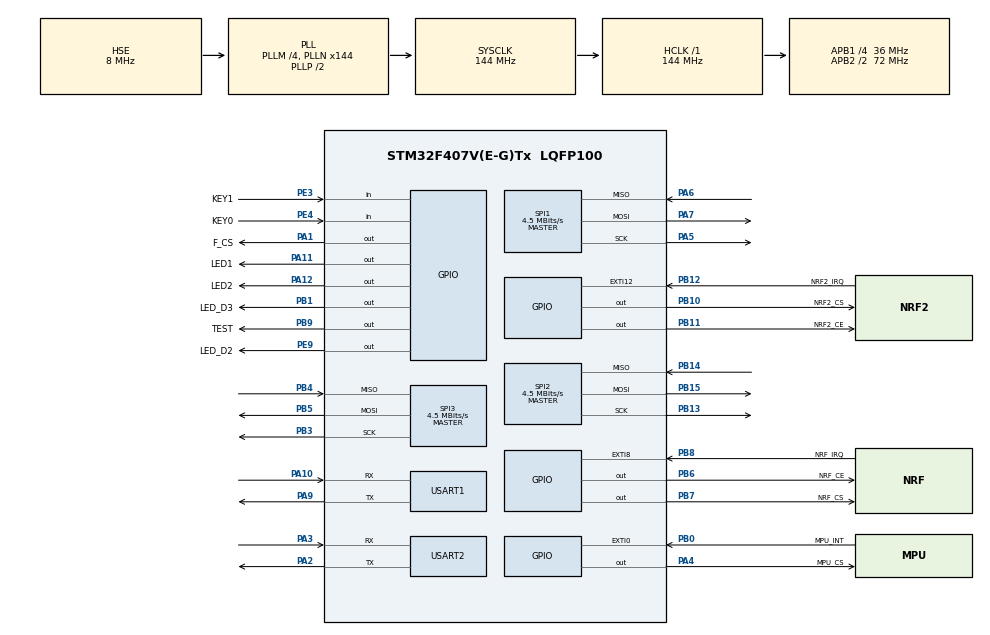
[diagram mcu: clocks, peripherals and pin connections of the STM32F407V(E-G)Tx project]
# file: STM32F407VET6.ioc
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Dma.Request0=USART1_TX
Dma.Request1=USART1_RX
Dma.USART1_RX.1.Direction=DMA_PERIPH_TO_MEMORY
Dma.USART1_RX.1.FIFOMode=DMA_FIFOMODE_DISABLE
Dma.USART1_RX.1.Instance=DMA2_Stream2
Dma.USART1_RX.1.MemDataAlignment=DMA_MDATAALIGN_BYTE
Dma.USART1_RX.1.MemInc=DMA_MINC_ENABLE
Dma.USART1_RX.1.Mode=DMA_NORMAL
Dma.USART1_RX.1.PeriphDataAlignment=DMA_PDATAALIGN_BYTE
Dma.USART1_RX.1.PeriphInc=DMA_PINC_DISABLE
Dma.USART1_RX.1.Priority=DMA_PRIORITY_LOW
Dma.USART1_TX.0.Direction=DMA_MEMORY_TO_PERIPH
Dma.USART1_TX.0.FIFOMode=DMA_FIFOMODE_DISABLE
Dma.USART1_TX.0.Instance=DMA2_Stream7
Dma.USART1_TX.0.MemDataAlignment=DMA_MDATAALIGN_BYTE
Dma.USART1_TX.0.MemInc=DMA_MINC_ENABLE
Dma.USART1_TX.0.Mode=DMA_NORMAL
Dma.USART1_TX.0.PeriphDataAlignment=DMA_PDATAALIGN_BYTE
Dma.USART1_TX.0.PeriphInc=DMA_PINC_DISABLE
Dma.USART1_TX.0.Priority=DMA_PRIORITY_LOW
Mcu.Family=STM32F4
Mcu.Name=STM32F407V(E-G)Tx
Mcu.Package=LQFP100
NVIC.DMA2_Stream2_IRQn=true\:6\:0\:true\:true
NVIC.DMA2_Stream7_IRQn=true\:7\:0\:true\:true
NVIC.EXTI0_IRQn=true\:7\:0\:true\:true
NVIC.EXTI15_10_IRQn=true\:2\:1\:true\:true
NVIC.EXTI9_5_IRQn=true\:2\:0\:true\:true
NVIC.PriorityGroup=NVIC_PRIORITYGROUP_3
NVIC.TIM1_UP_TIM10_IRQn=true\:1\:0\:true\:true
NVIC.TIM8_UP_TIM13_IRQn=true\:3\:0\:true\:true
NVIC.USART1_IRQn=true\:5\:0\:true\:true
NVIC.USART2_IRQn=true\:4\:0\:true\:true
PA1.GPIO_Label=F_CS
PA1.Signal=GPIO_Output
PA10.Mode=Asynchronous
PA10.Signal=USART1_RX
PA11.GPIO_Label=LED1
PA11.Signal=GPIO_Output
PA12.GPIO_Label=LED2
PA12.Signal=GPIO_Output
PA13.Mode=Serial-Wire
PA13.Signal=SYS_JTMS-SWDIO
PA14.Mode=Serial-Wire
PA14.Signal=SYS_JTCK-SWCLK
PA2.Mode=Asynchronous
PA2.Signal=USART2_TX
PA3.Mode=Asynchronous
PA3.Signal=USART2_RX
PA4.GPIO_Label=MPU_CS
PA4.Signal=GPIO_Output
PA5.Mode=Full_Duplex_Master
PA5.Signal=SPI1_SCK
PA6.Mode=Full_Duplex_Master
PA6.Signal=SPI1_MISO
PA7.Mode=Full_Duplex_Master
PA7.Signal=SPI1_MOSI
PA9.Mode=Asynchronous
PA9.Signal=USART1_TX
PB0.GPIO_Label=MPU_INT
PB0.GPIO_PuPd=GPIO_PULLUP
PB0.Signal=GPXTI0
PB1.GPIO_Label=LED_D3
PB1.Signal=GPIO_Output
PB10.GPIO_Label=NRF2_CS
PB10.Signal=GPIO_Output
PB11.GPIO_Label=NRF2_CE
PB11.Signal=GPIO_Output
PB12.GPIO_Label=NRF2_IRQ
PB12.GPIO_ModeDefaultEXTI=GPIO_MODE_IT_FALLING
PB12.GPIO_PuPd=GPIO_PULLUP
PB12.Signal=GPXTI12
PB13.Mode=Full_Duplex_Master
PB13.Signal=SPI2_SCK
PB14.Mode=Full_Duplex_Master
PB14.Signal=SPI2_MISO
PB15.Mode=Full_Duplex_Master
PB15.Signal=SPI2_MOSI
PB3.Mode=Full_Duplex_Master
PB3.Signal=SPI3_SCK
PB4.Mode=Full_Duplex_Master
PB4.Signal=SPI3_MISO
PB5.Mode=Full_Duplex_Master
PB5.Signal=SPI3_MOSI
PB6.GPIO_Label=NRF_CE
PB6.GPIO_Speed=GPIO_SPEED_MEDIUM
PB6.Signal=GPIO_Output
PB7.GPIO_Label=NRF_CS
PB7.GPIO_Speed=GPIO_SPEED_MEDIUM
PB7.Signal=GPIO_Output
PB8.GPIO_Label=NRF_IRQ
PB8.GPIO_ModeDefaultEXTI=GPIO_MODE_IT_FALLING
PB8.GPIO_PuPd=GPIO_PULLUP
PB8.Signal=GPXTI8
PB9.GPIO_Label=TEST
PB9.GPIO_Speed=GPIO_SPEED_FAST
PB9.Signal=GPIO_Output
PE3.GPIO_Label=KEY1
PE3.GPIO_PuPd=GPIO_PULLUP
PE3.Signal=GPIO_Input
PE4.GPIO_Label=KEY0
PE4.GPIO_PuPd=GPIO_PULLUP
PE4.Signal=GPIO_Input
PE9.GPIO_Label=LED_D2
PE9.Signal=GPIO_Output
PH0-OSC_IN.Mode=HSE-External-Oscillator
PH0-OSC_IN.Signal=RCC_OSC_IN
PH1-OSC_OUT.Mode=HSE-External-Oscillator
PH1-OSC_OUT.Signal=RCC_OSC_OUT
ProjectManager.HeapSize=0x200
ProjectManager.StackSize=0x400
ProjectManager.TargetToolchain=MDK-ARM V5
RCC.48MHZClocksFreq_Value=72000000
RCC.AHBFreq_Value=144000000
RCC.APB1CLKDivider=RCC_HCLK_DIV4
RCC.APB1Freq_Value=36000000
RCC.APB1TimFreq_Value=72000000
RCC.APB2CLKDivider=RCC_HCLK_DIV2
RCC.APB2Freq_Value=72000000
RCC.APB2TimFreq_Value=144000000
RCC.CortexFreq_Value=144000000
RCC.HCLKFreq_Value=144000000
RCC.HSE_VALUE=8000000
RCC.HSI_VALUE=16000000
RCC.LSE_VALUE=32768
RCC.PLLM=4
RCC.PLLN=144
RCC.PLLSourceVirtual=RCC_PLLSOURCE_HSE
RCC.SYSCLKFreq_VALUE=144000000
RCC.SYSCLKSource=RCC_SYSCLKSOURCE_PLLCLK
RCC.VCOOutputFreq_Value=288000000
SPI1.BaudRatePrescaler=SPI_BAUDRATEPRESCALER_16
SPI1.CalculateBaudRate=4.5 MBits/s
SPI1.Direction=SPI_DIRECTION_2LINES
SPI1.Mode=SPI_MODE_MASTER
SPI1.VirtualType=VM_MASTER
SPI2.BaudRatePrescaler=SPI_BAUDRATEPRESCALER_8
SPI2.CalculateBaudRate=4.5 MBits/s
SPI2.Direction=SPI_DIRECTION_2LINES
SPI2.Mode=SPI_MODE_MASTER
SPI2.VirtualType=VM_MASTER
SPI3.BaudRatePrescaler=SPI_BAUDRATEPRESCALER_8
SPI3.CalculateBaudRate=4.5 MBits/s
SPI3.Direction=SPI_DIRECTION_2LINES
SPI3.Mode=SPI_MODE_MASTER
SPI3.VirtualType=VM_MASTER
TIM1.ClockDivision=TIM_CLOCKDIVISION_DIV1
TIM1.Period=200
TIM1.Prescaler=28799
TIM8.Period=700
TIM8.Prescaler=143
USART1.VirtualMode=VM_ASYNC
USART2.VirtualMode=VM_ASYNC
VP_TIM1_VS_ClockSourceINT.Mode=Internal
VP_TIM8_VS_ClockSourceINT.Mode=Internal
board=STM32F407VET6

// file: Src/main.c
/**
  ******************************************************************************
  * File Name          : main.c
  * Description        : Main program body
  ******************************************************************************
  *
  * COPYRIGHT(c) 2017 STMicroelectronics
  *
  * Redistribution and use in source and binary forms, with or without modification,
  * are permitted provided that the following conditions are met:
  *   1. Redistributions of source code must retain the above copyright notice,
  *      this list of conditions and the following disclaimer.
  *   2. Redistributions in binary form must reproduce the above copyright notice,
  *      this list of conditions and the following disclaimer in the documentation
  *      and/or other materials provided with the distribution.
  *   3. Neither the name of STMicroelectronics nor the names of its contributors
  *      may be used to endorse or promote products derived from this software
  *      without specific prior written permission.
  *
  * THIS SOFTWARE IS PROVIDED BY THE COPYRIGHT HOLDERS AND CONTRIBUTORS "AS IS"
  * AND ANY EXPRESS OR IMPLIED WARRANTIES, INCLUDING, BUT NOT LIMITED TO, THE
  * IMPLIED WARRANTIES OF MERCHANTABILITY AND FITNESS FOR A PARTICULAR PURPOSE ARE
  * DISCLAIMED. IN NO EVENT SHALL THE COPYRIGHT HOLDER OR CONTRIBUTORS BE LIABLE
  * FOR ANY DIRECT, INDIRECT, INCIDENTAL, SPECIAL, EXEMPLARY, OR CONSEQUENTIAL
  * DAMAGES (INCLUDING, BUT NOT LIMITED TO, PROCUREMENT OF SUBSTITUTE GOODS OR
  * SERVICES; LOSS OF USE, DATA, OR PROFITS; OR BUSINESS INTERRUPTION) HOWEVER
  * CAUSED AND ON ANY THEORY OF LIABILITY, WHETHER IN CONTRACT, STRICT LIABILITY,
  * OR TORT (INCLUDING NEGLIGENCE OR OTHERWISE) ARISING IN ANY WAY OUT OF THE USE
  * OF THIS SOFTWARE, EVEN IF ADVISED OF THE POSSIBILITY OF SUCH DAMAGE.
  *
  ******************************************************************************
  */
#include "stm32f4xx_hal.h"

/* USER CODE BEGIN Includes */
#include "MAIN_MY.h"
#include "string.h"
#include "NRF24L01.h"
#include "delay.h"
/* USER CODE END Includes */

SPI_HandleTypeDef hspi1;
SPI_HandleTypeDef hspi2;
SPI_HandleTypeDef hspi3;

TIM_HandleTypeDef htim1;
TIM_HandleTypeDef htim8;

UART_HandleTypeDef huart1;
UART_HandleTypeDef huart2;
DMA_HandleTypeDef hdma_usart1_tx;
DMA_HandleTypeDef hdma_usart1_rx;

/* USER CODE BEGIN PV */
/* Private variables ---------------------------------------------------------*/
GLOVAR_HandleTypeDef glovar;
uint8_t start_flag=0;

//#define LED_D2 PEout(9)// PA8

/* USER CODE END PV */

void SystemClock_Config(void);
static void MX_GPIO_Init(void);
static void MX_DMA_Init(void);
static void SystemClock_Config(void);
static void MX_SPI1_Init(void);
static void MX_SPI2_Init(void);
static void MX_SPI3_Init(void);
static void MX_TIM1_Init(void);
static void MX_TIM8_Init(void);
static void MX_USART1_UART_Init(void);
static void MX_USART2_UART_Init(void);

/* USER CODE BEGIN PFP */
/* Private function prototypes -----------------------------------------------*/

/* USER CODE END PFP */

int main(void)
{

  /* USER CODE BEGIN 1 */
//	uint8_t uart_send_buf [15]="123456789";
  /* USER CODE END 1 */

  /* MCU Configuration----------------------------------------------------------*/

  /* Reset of all peripherals, Initializes the Flash interface and the Systick. */
  HAL_Init();

  /* Configure the system clock */
  SystemClock_Config();

  /* Initialize all configured peripherals */
  MX_GPIO_Init();
  MX_DMA_Init();
  SystemClock_Config();
  MX_SPI1_Init();
  MX_SPI2_Init();
  MX_SPI3_Init();
  MX_TIM1_Init();
  MX_TIM8_Init();
  MX_USART1_UART_Init();
  MX_USART2_UART_Init();

  /* USER CODE BEGIN 2 */
	start_flag=1;

	SPI2->CR1|=1<<6;//使能SPI3
	EXTI->IMR&=~(1<<8);
	EXTI->IMR&=~(1<<12);
	memset(&glovar,0,sizeof(glovar));
	LIZJ_HAL_INIT(&glovar);
	delay(500);
	Run_Action_Group_printf(&glovar,1,100,0);
	delay(500);
	NRF_printf("机器人版本号:V1.0\r\n");
	NRF_printf("制作人:lizj\r\n");

	LEN_G_OFF;
	HAL_TIM_Base_Start_IT(&htim1);

//  printf("asdf");
//	LEN_R_OFF;
//	LEN_G_ON;
	//HAL_TIM_Base_Start(&htim8);
//	HAL_TIM_Base_Start_IT(&htim8);
//	HAL_UART_Transmit(&huart1,uart_send_buf,5,1000);
//	HAL_UART_Transmit_DMA(&huart1,uart_send_buf,5);
//	HAL_UART_Receive_IT(&huart1,uart_send_buf,5);
//	HAL_UART_Receive_DMA(&huart1,uart_send_buf,5);
  /* USER CODE END 2 */

  /* Infinite loop */
  /* USER CODE BEGIN WHILE */
  while (1)
  {
		if(glovar.NRF.FLAG_RX)
			NRF_data_handle(&glovar);//NRF时间同步和数据处理
		if(glovar.TIMER.UART_SEND_TIMER){glovar.TIMER.UART_SEND_TIMER=0;
			Up_UART_DATA(&glovar);}
		if(glovar.UART.NEED_SEND&&glovar.UART.SEND_OK)
			usart1_data_send_handle(&glovar);//串口打印数据
		__WFI();
  /* USER CODE END WHILE */

  }

}

/** System Clock Configuration
*/
void SystemClock_Config(void)
{

  RCC_OscInitTypeDef RCC_OscInitStruct;
  RCC_ClkInitTypeDef RCC_ClkInitStruct;

  __PWR_CLK_ENABLE();

  __HAL_PWR_VOLTAGESCALING_CONFIG(PWR_REGULATOR_VOLTAGE_SCALE1);

  RCC_OscInitStruct.OscillatorType = RCC_OSCILLATORTYPE_HSE;
  RCC_OscInitStruct.HSEState = RCC_HSE_ON;
  RCC_OscInitStruct.PLL.PLLState = RCC_PLL_ON;
  RCC_OscInitStruct.PLL.PLLSource = RCC_PLLSOURCE_HSE;
  RCC_OscInitStruct.PLL.PLLM = 4;
  RCC_OscInitStruct.PLL.PLLN = 144;
  RCC_OscInitStruct.PLL.PLLP = RCC_PLLP_DIV2;
  RCC_OscInitStruct.PLL.PLLQ = 4;
  HAL_RCC_OscConfig(&RCC_OscInitStruct);

  RCC_ClkInitStruct.ClockType = RCC_CLOCKTYPE_SYSCLK|RCC_CLOCKTYPE_PCLK1
                              |RCC_CLOCKTYPE_PCLK2;
  RCC_ClkInitStruct.SYSCLKSource = RCC_SYSCLKSOURCE_PLLCLK;
  RCC_ClkInitStruct.AHBCLKDivider = RCC_SYSCLK_DIV1;
  RCC_ClkInitStruct.APB1CLKDivider = RCC_HCLK_DIV4;
  RCC_ClkInitStruct.APB2CLKDivider = RCC_HCLK_DIV2;
  HAL_RCC_ClockConfig(&RCC_ClkInitStruct, FLASH_LATENCY_4);

  HAL_SYSTICK_Config(HAL_RCC_GetHCLKFreq()/1000);

  HAL_SYSTICK_CLKSourceConfig(SYSTICK_CLKSOURCE_HCLK);

  /* SysTick_IRQn interrupt configuration */
  HAL_NVIC_SetPriority(SysTick_IRQn, 0, 0);
}

/* SPI1 init function */
void MX_SPI1_Init(void)
{

  hspi1.Instance = SPI1;
  hspi1.Init.Mode = SPI_MODE_MASTER;
  hspi1.Init.Direction = SPI_DIRECTION_2LINES;
  hspi1.Init.DataSize = SPI_DATASIZE_8BIT;
  hspi1.Init.CLKPolarity = SPI_POLARITY_LOW;
  hspi1.Init.CLKPhase = SPI_PHASE_1EDGE;
  hspi1.Init.NSS = SPI_NSS_SOFT;
  hspi1.Init.BaudRatePrescaler = SPI_BAUDRATEPRESCALER_16;
  hspi1.Init.FirstBit = SPI_FIRSTBIT_MSB;
  hspi1.Init.TIMode = SPI_TIMODE_DISABLED;
  hspi1.Init.CRCCalculation = SPI_CRCCALCULATION_DISABLED;
  hspi1.Init.CRCPolynomial = 10;
  HAL_SPI_Init(&hspi1);

}

/* SPI2 init function */
void MX_SPI2_Init(void)
{

  hspi2.Instance = SPI2;
  hspi2.Init.Mode = SPI_MODE_MASTER;
  hspi2.Init.Direction = SPI_DIRECTION_2LINES;
  hspi2.Init.DataSize = SPI_DATASIZE_8BIT;
  hspi2.Init.CLKPolarity = SPI_POLARITY_LOW;
  hspi2.Init.CLKPhase = SPI_PHASE_1EDGE;
  hspi2.Init.NSS = SPI_NSS_SOFT;
  hspi2.Init.BaudRatePrescaler = SPI_BAUDRATEPRESCALER_8;
  hspi2.Init.FirstBit = SPI_FIRSTBIT_MSB;
  hspi2.Init.TIMode = SPI_TIMODE_DISABLED;
  hspi2.Init.CRCCalculation = SPI_CRCCALCULATION_DISABLED;
  hspi2.Init.CRCPolynomial = 10;
  HAL_SPI_Init(&hspi2);

}

/* SPI3 init function */
void MX_SPI3_Init(void)
{

  hspi3.Instance = SPI3;
  hspi3.Init.Mode = SPI_MODE_MASTER;
  hspi3.Init.Direction = SPI_DIRECTION_2LINES;
  hspi3.Init.DataSize = SPI_DATASIZE_8BIT;
  hspi3.Init.CLKPolarity = SPI_POLARITY_LOW;
  hspi3.Init.CLKPhase = SPI_PHASE_1EDGE;
  hspi3.Init.NSS = SPI_NSS_SOFT;
  hspi3.Init.BaudRatePrescaler = SPI_BAUDRATEPRESCALER_8;
  hspi3.Init.FirstBit = SPI_FIRSTBIT_MSB;
  hspi3.Init.TIMode = SPI_TIMODE_DISABLED;
  hspi3.Init.CRCCalculation = SPI_CRCCALCULATION_DISABLED;
  hspi3.Init.CRCPolynomial = 10;
  HAL_SPI_Init(&hspi3);

}

/* TIM1 init function */
void MX_TIM1_Init(void)
{

  TIM_ClockConfigTypeDef sClockSourceConfig;
  TIM_MasterConfigTypeDef sMasterConfig;

  htim1.Instance = TIM1;
  htim1.Init.Prescaler = 28799;
  htim1.Init.CounterMode = TIM_COUNTERMODE_UP;
  htim1.Init.Period = 200;
  htim1.Init.ClockDivision = TIM_CLOCKDIVISION_DIV1;
  htim1.Init.RepetitionCounter = 0;
  HAL_TIM_Base_Init(&htim1);

  sClockSourceConfig.ClockSource = TIM_CLOCKSOURCE_INTERNAL;
  HAL_TIM_ConfigClockSource(&htim1, &sClockSourceConfig);

  sMasterConfig.MasterOutputTrigger = TIM_TRGO_RESET;
  sMasterConfig.MasterSlaveMode = TIM_MASTERSLAVEMODE_DISABLE;
  HAL_TIMEx_MasterConfigSynchronization(&htim1, &sMasterConfig);

}

/* TIM8 init function */
void MX_TIM8_Init(void)
{

  TIM_ClockConfigTypeDef sClockSourceConfig;
  TIM_MasterConfigTypeDef sMasterConfig;

  htim8.Instance = TIM8;
  htim8.Init.Prescaler = 143;
  htim8.Init.CounterMode = TIM_COUNTERMODE_UP;
  htim8.Init.Period = 700;
  htim8.Init.ClockDivision = TIM_CLOCKDIVISION_DIV1;
  htim8.Init.RepetitionCounter = 0;
  HAL_TIM_Base_Init(&htim8);

  sClockSourceConfig.ClockSource = TIM_CLOCKSOURCE_INTERNAL;
  HAL_TIM_ConfigClockSource(&htim8, &sClockSourceConfig);

  sMasterConfig.MasterOutputTrigger = TIM_TRGO_RESET;
  sMasterConfig.MasterSlaveMode = TIM_MASTERSLAVEMODE_DISABLE;
  HAL_TIMEx_MasterConfigSynchronization(&htim8, &sMasterConfig);

}

/* USART1 init function */
void MX_USART1_UART_Init(void)
{

  huart1.Instance = USART1;
  huart1.Init.BaudRate = 115200;
  huart1.Init.WordLength = UART_WORDLENGTH_8B;
  huart1.Init.StopBits = UART_STOPBITS_1;
  huart1.Init.Parity = UART_PARITY_NONE;
  huart1.Init.Mode = UART_MODE_TX_RX;
  huart1.Init.HwFlowCtl = UART_HWCONTROL_NONE;
  huart1.Init.OverSampling = UART_OVERSAMPLING_16;
  HAL_UART_Init(&huart1);

}

/* USART2 init function */
void MX_USART2_UART_Init(void)
{

  huart2.Instance = USART2;
  huart2.Init.BaudRate = 115200;
  huart2.Init.WordLength = UART_WORDLENGTH_8B;
  huart2.Init.StopBits = UART_STOPBITS_1;
  huart2.Init.Parity = UART_PARITY_NONE;
  huart2.Init.Mode = UART_MODE_TX_RX;
  huart2.Init.HwFlowCtl = UART_HWCONTROL_NONE;
  huart2.Init.OverSampling = UART_OVERSAMPLING_16;
  HAL_UART_Init(&huart2);

}

void MX_DMA_Init(void)
{
  /* DMA controller clock enable */
  __DMA2_CLK_ENABLE();

  /* DMA interrupt init */
  HAL_NVIC_SetPriority(DMA2_Stream2_IRQn, 6, 0);
  HAL_NVIC_EnableIRQ(DMA2_Stream2_IRQn);
  HAL_NVIC_SetPriority(DMA2_Stream7_IRQn, 7, 0);
  HAL_NVIC_EnableIRQ(DMA2_Stream7_IRQn);

}

/** Configure pins as
        * Analog
        * Input
        * Output
        * EVENT_OUT
        * EXTI
*/
void MX_GPIO_Init(void)
{

  GPIO_InitTypeDef GPIO_InitStruct;

  /* GPIO Ports Clock Enable */
  __GPIOE_CLK_ENABLE();
  __GPIOH_CLK_ENABLE();
  __GPIOA_CLK_ENABLE();
  __GPIOB_CLK_ENABLE();

  /*Configure GPIO pins : KEY1_Pin KEY0_Pin */
  GPIO_InitStruct.Pin = KEY1_Pin|KEY0_Pin;
  GPIO_InitStruct.Mode = GPIO_MODE_INPUT;
  GPIO_InitStruct.Pull = GPIO_PULLUP;
  HAL_GPIO_Init(GPIOE, &GPIO_InitStruct);

  /*Configure GPIO pins : F_CS_Pin MPU_CS_Pin LED1_Pin LED2_Pin */
  GPIO_InitStruct.Pin = F_CS_Pin|MPU_CS_Pin|LED1_Pin|LED2_Pin;
  GPIO_InitStruct.Mode = GPIO_MODE_OUTPUT_PP;
  GPIO_InitStruct.Pull = GPIO_NOPULL;
  GPIO_InitStruct.Speed = GPIO_SPEED_LOW;
  HAL_GPIO_Init(GPIOA, &GPIO_InitStruct);

  /*Configure GPIO pin : MPU_INT_Pin */
  GPIO_InitStruct.Pin = MPU_INT_Pin;
  GPIO_InitStruct.Mode = GPIO_MODE_IT_RISING;
  GPIO_InitStruct.Pull = GPIO_PULLUP;
  HAL_GPIO_Init(MPU_INT_GPIO_Port, &GPIO_InitStruct);

  /*Configure GPIO pins : LED_D3_Pin NRF2_CS_Pin NRF2_CE_Pin */
  GPIO_InitStruct.Pin = LED_D3_Pin|NRF2_CS_Pin|NRF2_CE_Pin;
  GPIO_InitStruct.Mode = GPIO_MODE_OUTPUT_PP;
  GPIO_InitStruct.Pull = GPIO_NOPULL;
  GPIO_InitStruct.Speed = GPIO_SPEED_LOW;
  HAL_GPIO_Init(GPIOB, &GPIO_InitStruct);

  /*Configure GPIO pin : LED_D2_Pin */
  GPIO_InitStruct.Pin = LED_D2_Pin;
  GPIO_InitStruct.Mode = GPIO_MODE_OUTPUT_PP;
  GPIO_InitStruct.Pull = GPIO_NOPULL;
  GPIO_InitStruct.Speed = GPIO_SPEED_LOW;
  HAL_GPIO_Init(LED_D2_GPIO_Port, &GPIO_InitStruct);

  /*Configure GPIO pins : NRF2_IRQ_Pin NRF_IRQ_Pin */
  GPIO_InitStruct.Pin = NRF2_IRQ_Pin|NRF_IRQ_Pin;
  GPIO_InitStruct.Mode = GPIO_MODE_IT_FALLING;
  GPIO_InitStruct.Pull = GPIO_PULLUP;
  HAL_GPIO_Init(GPIOB, &GPIO_InitStruct);

  /*Configure GPIO pins : NRF_CE_Pin NRF_CS_Pin */
  GPIO_InitStruct.Pin = NRF_CE_Pin|NRF_CS_Pin;
  GPIO_InitStruct.Mode = GPIO_MODE_OUTPUT_PP;
  GPIO_InitStruct.Pull = GPIO_NOPULL;
  GPIO_InitStruct.Speed = GPIO_SPEED_MEDIUM;
  HAL_GPIO_Init(GPIOB, &GPIO_InitStruct);

  /*Configure GPIO pin : TEST_Pin */
  GPIO_InitStruct.Pin = TEST_Pin;
  GPIO_InitStruct.Mode = GPIO_MODE_OUTPUT_PP;
  GPIO_InitStruct.Pull = GPIO_NOPULL;
  GPIO_InitStruct.Speed = GPIO_SPEED_FAST;
  HAL_GPIO_Init(TEST_GPIO_Port, &GPIO_InitStruct);

  /* EXTI interrupt init*/
  HAL_NVIC_SetPriority(EXTI0_IRQn, 7, 0);
  HAL_NVIC_EnableIRQ(EXTI0_IRQn);

  HAL_NVIC_SetPriority(EXTI9_5_IRQn, 2, 0);
  HAL_NVIC_EnableIRQ(EXTI9_5_IRQn);

  HAL_NVIC_SetPriority(EXTI15_10_IRQn, 2, 1);
  HAL_NVIC_EnableIRQ(EXTI15_10_IRQn);

}

/* USER CODE BEGIN 4 */

void HAL_SYSTICK_Callback(void)
{
		if(glovar.TIMER.NRF_IRQ_OUT_TIME)
			glovar.TIMER.NRF_IRQ_OUT_TIME--;
		if(glovar.TIMER.ACTION_TIMER_REMAIN)
			glovar.TIMER.ACTION_TIMER_REMAIN--;
//	static char num=0;
//	if(num)
//	{
//		HAL_GPIO_WritePin(GPIOB,GPIO_PIN_9,GPIO_PIN_RESET);
//		num=0;
//	}
//	else
//	{
//		HAL_GPIO_WritePin(GPIOB,GPIO_PIN_9,GPIO_PIN_SET);
//		num=1;
//	}
}
void HAL_TIM_PeriodElapsedCallback(TIM_HandleTypeDef *htim)
{
	if(htim==&htim1)
	{
		if(!glovar.NRF.FLAG_RECON)
			HAL_TIM_Base_Start_IT(&htim8);
	//NRF24L01_Send(&glovar);
		glovar.NRF.FLAG_RECON=0;
		glovar.TIMER.UART_SEND_TIMER=1;
	}
	else if(htim==&htim8)
	{
		HAL_TIM_Base_Stop(&htim8);
		TIM8->CNT=0;
		HAL_GPIO_WritePin(LED_D2_GPIO_Port,LED_D2_Pin,GPIO_PIN_RESET);
		NRF24L01_Send(&glovar);
	}
}

void HAL_USART1_RxIDLECallback(void)
{
	uint16_t len=USART_REC_LEN - DMA2_Stream2->NDTR;
	glovar.UART.REC_BUF[len]='\0';
	DMA2_Stream2->CR&=~(1<<0);				//停止DMA,以重新配置NDTR,会导致产生传输完成中断
	DMA2_Stream2->NDTR=USART_REC_LEN; //重新赋值
	DMA2->LIFCR=1<<21;								//清传输完成中断
	DMA2_Stream2->CR|=(1<<0);					//启动DMA模式
	decode_UART_rec (&glovar);
	glovar.UART.REC_OK=1;
}

//void HAL_UART_RxCpltCallback(UART_HandleTypeDef *huart)
//{
//	static short num;
//	num++;
//}

void HAL_UART_TxCpltCallback(UART_HandleTypeDef *huart)
{
	glovar.UART.SEND_OK=1;
}

void HAL_GPIO_EXTI_Callback(uint16_t GPIO_Pin)
{
	uint8_t status,len;
	if(start_flag)
	{
		if(GPIO_Pin & GPIO_PIN_8)
		{
			CE(0);
			status=SPI_Read_Reg(STATUS);	// 读取状态寄存其来判断数据接收状况
			if (status & 0x30)
			{
				NRF_RX_Mode(&glovar,RX_LEN);
			}
			else if(status & RX_DR){	//接受中断标志位
				//LED_D2=1;
				HAL_GPIO_WritePin(LED_D2_GPIO_Port,LED_D2_Pin,GPIO_PIN_SET);
				SPI_Read_Buf(RD_RX_PLOAD,glovar.NRF.BUF_RX,RX_LEN);// read receive payload from RX_FIFO buffer
				glovar.NRF.FLAG_RX=1;
				SPI_RW_Reg(WRITE_REG_NRF24L01 + STATUS, 0xff);
				// 清除TX，让IRQ拉低
				HAL_TIM_Base_Start_IT(&htim8);
			}
		}
		if(GPIO_Pin & GPIO_PIN_12)
		{
			CE_2(0);
			status=SPI_Read_Reg_2(STATUS);	// 读取状态寄存其来判断数据接收状况
			if (status & 0x30)
			{
				NRF_RX_Mode_2(&glovar,RX_LEN);
			}
			else if(status & RX_DR){	//接受中断标志位
				len=SPI_Read_Reg_2(nRF_R_RX_PL_WID);
				glovar.NRF.FLAG_RX=1;
				SPI_RW_Reg_2(WRITE_REG_NRF24L01 + STATUS, 0xff);
				SPI_Read_Buf_2(RD_RX_PLOAD,glovar.NRF.BUF_RX,len);// read receive payload from RX_FIFO buffer
	//			printf("%d",len);
				CE_2(1);
			}
		}
	}
}
/* USER CODE END 4 */

/************************ (C) COPYRIGHT STMicroelectronics *****END OF FILE****/
